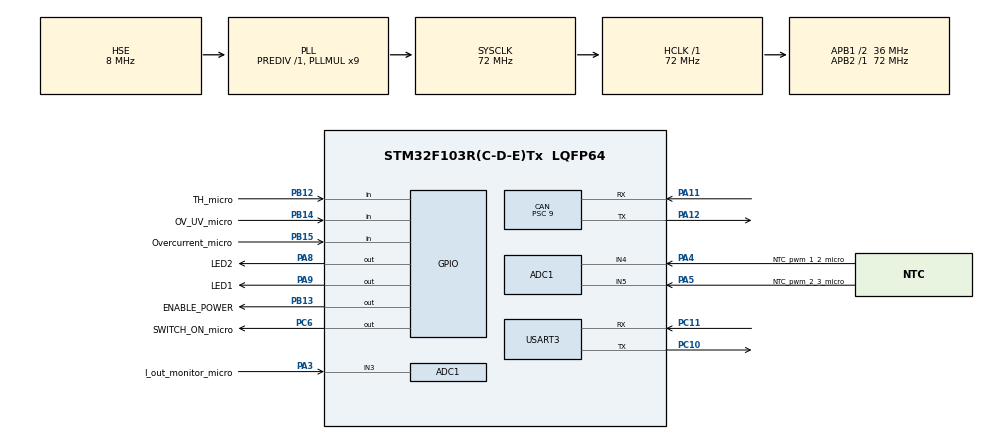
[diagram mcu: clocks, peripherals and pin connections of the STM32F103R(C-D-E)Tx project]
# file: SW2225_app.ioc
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ADC1.Channel-0\#ChannelRegularConversion=ADC_CHANNEL_3
ADC1.Channel-1\#ChannelRegularConversion=ADC_CHANNEL_4
ADC1.Channel-2\#ChannelRegularConversion=ADC_CHANNEL_5
ADC1.ContinuousConvMode=ENABLE
ADC1.NbrOfConversion=3
ADC1.NbrOfConversionFlag=1
ADC1.Rank-0\#ChannelRegularConversion=1
ADC1.Rank-1\#ChannelRegularConversion=2
ADC1.Rank-2\#ChannelRegularConversion=3
ADC1.SamplingTime-0\#ChannelRegularConversion=ADC_SAMPLETIME_28CYCLES_5
ADC1.SamplingTime-1\#ChannelRegularConversion=ADC_SAMPLETIME_28CYCLES_5
ADC1.SamplingTime-2\#ChannelRegularConversion=ADC_SAMPLETIME_28CYCLES_5
ADC1.master=1
CAN.BS1=CAN_BS1_13TQ
CAN.BS2=CAN_BS2_2TQ
CAN.CalculateBaudRate=250000
CAN.CalculateTimeBit=4000
CAN.CalculateTimeQuantum=250.0
CAN.NART=ENABLE
CAN.Prescaler=9
CAN.TXFP=ENABLE
Dma.ADC1.0.Direction=DMA_PERIPH_TO_MEMORY
Dma.ADC1.0.Instance=DMA1_Channel1
Dma.ADC1.0.MemDataAlignment=DMA_MDATAALIGN_HALFWORD
Dma.ADC1.0.MemInc=DMA_MINC_ENABLE
Dma.ADC1.0.Mode=DMA_NORMAL
Dma.ADC1.0.PeriphDataAlignment=DMA_PDATAALIGN_HALFWORD
Dma.ADC1.0.PeriphInc=DMA_PINC_DISABLE
Dma.ADC1.0.Priority=DMA_PRIORITY_LOW
Dma.Request0=ADC1
Mcu.Family=STM32F1
Mcu.Name=STM32F103R(C-D-E)Tx
Mcu.Package=LQFP64
NVIC.DMA1_Channel1_IRQn=true\:0\:0\:false\:false\:true\:false\:true\:true
NVIC.PriorityGroup=NVIC_PRIORITYGROUP_4
NVIC.USART3_IRQn=true\:0\:0\:false\:false\:true\:true\:true\:true
NVIC.USB_HP_CAN1_TX_IRQn=true\:0\:0\:false\:false\:true\:true\:true\:true
NVIC.USB_LP_CAN1_RX0_IRQn=true\:0\:0\:false\:false\:true\:true\:true\:true
PA11.GPIO_PuPd=GPIO_NOPULL
PA11.Mode=CAN_Activate
PA11.Signal=CAN_RX
PA12.GPIO_Mode=GPIO_MODE_AF_PP
PA12.GPIO_Speed=GPIO_SPEED_FREQ_MEDIUM
PA12.Mode=CAN_Activate
PA12.Signal=CAN_TX
PA13.GPIO_Label=SWDIO
PA13.Mode=Serial_Wire
PA13.Signal=SYS_JTMS-SWDIO
PA14.GPIO_Label=SWCLK
PA14.Mode=Serial_Wire
PA14.Signal=SYS_JTCK-SWCLK
PA3.GPIO_Label=I_out_monitor_micro
PA3.Signal=ADCx_IN3
PA4.GPIO_Label=NTC_pwm_1_2_micro
PA4.Signal=ADCx_IN4
PA5.GPIO_Label=NTC_pwm_2_3_micro
PA5.Signal=ADCx_IN5
PA8.GPIO_Label=LED2
PA8.Signal=GPIO_Output
PA9.GPIO_Label=LED1
PA9.Signal=GPIO_Output
PB12.GPIO_Label=TH_micro
PB12.Signal=GPIO_Input
PB13.GPIO_Label=ENABLE_POWER
PB13.Signal=GPIO_Output
PB14.GPIO_Label=OV_UV_micro
PB14.Signal=GPIO_Input
PB15.GPIO_Label=Overcurrent_micro
PB15.Signal=GPIO_Input
PC10.Mode=Asynchronous
PC10.Signal=USART3_TX
PC11.Mode=Asynchronous
PC11.Signal=USART3_RX
PC6.GPIO_Label=SWITCH_ON_micro
PC6.Signal=GPIO_Output
PD0-OSC_IN.Mode=HSE-External-Oscillator
PD0-OSC_IN.Signal=RCC_OSC_IN
PD1-OSC_OUT.Mode=HSE-External-Oscillator
PD1-OSC_OUT.Signal=RCC_OSC_OUT
ProjectManager.HeapSize=0x2000
ProjectManager.StackSize=0x4000
ProjectManager.TargetToolchain=STM32CubeIDE
RCC.ADCPresc=RCC_ADCPCLK2_DIV6
RCC.AHBFreq_Value=72000000
RCC.APB1CLKDivider=RCC_HCLK_DIV2
RCC.APB1Freq_Value=36000000
RCC.APB1TimFreq_Value=72000000
RCC.APB2Freq_Value=72000000
RCC.APB2TimFreq_Value=72000000
RCC.HCLKFreq_Value=72000000
RCC.PLLMUL=RCC_PLL_MUL9
RCC.PLLSourceVirtual=RCC_PLLSOURCE_HSE
RCC.SYSCLKFreq_VALUE=72000000
RCC.SYSCLKSource=RCC_SYSCLKSOURCE_PLLCLK
RCC.USBFreq_Value=72000000
SH.ADCx_IN3.0=ADC1_IN3,IN3
SH.ADCx_IN4.0=ADC1_IN4,IN4
SH.ADCx_IN5.0=ADC1_IN5,IN5
USART3.VirtualMode=VM_ASYNC
board=bootloader

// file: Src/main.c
/* USER CODE BEGIN Header */
/**
  ******************************************************************************
  * @file           : main.c
  * @brief          : Main program body
  ******************************************************************************
  * @attention
  *
  * Copyright (c) 2022 STMicroelectronics.
  * All rights reserved.
  *
  * This software is licensed under terms that can be found in the LICENSE file
  * in the root directory of this software component.
  * If no LICENSE file comes with this software, it is provided AS-IS.
  *
  ******************************************************************************
  */
/* USER CODE END Header */
#include "main.h"

/* USER CODE BEGIN Includes */
#include "machine.h"
#include "version.h"
#include "app_btl.h"

/* USER CODE END Includes */

ADC_HandleTypeDef hadc1;
DMA_HandleTypeDef hdma_adc1;

CAN_HandleTypeDef hcan;

UART_HandleTypeDef huart3;

/* USER CODE BEGIN PV */
extern unsigned int g_pfnVectors;

/* USER CODE END PV */

void SystemClock_Config(void);
static void MX_GPIO_Init(void);
static void MX_DMA_Init(void);
static void MX_CAN_Init(void);
static void MX_USART3_UART_Init(void);
static void MX_ADC1_Init(void);

/* USER CODE BEGIN 0 */
/* vector table */
static void VetcorTblRemap(void)
{
  /* rimappatura vector table */
  SCB->VTOR = (uint32_t)&g_pfnVectors;
  __enable_irq();
}

/* Debug cfg */
static void DbgEnable(void)
{
	uint32_t mapr;

	/* per evitare un bug presente nella macro di gestione della configurazione di debug */
	mapr = AFIO->MAPR;
	mapr &= ~(AFIO_MAPR_SWJ_CFG);
	AFIO->MAPR = mapr;
	mapr |= (AFIO_MAPR_SWJ_CFG_JTAGDISABLE);
	AFIO->MAPR = mapr;
}

/* USER CODE END 0 */

int main(void)
{
  /* USER CODE BEGIN 1 */
#if BOOTLOADER_EN
  volatile app_btl *share_app = (app_btl *)APP_BTL_SHARE_ADDR;
#endif

  VetcorTblRemap();

  /* USER CODE END 1 */

  /* MCU Configuration--------------------------------------------------------*/

  /* Reset of all peripherals, Initializes the Flash interface and the Systick. */
  HAL_Init();

  /* Configure the system clock */
  SystemClock_Config();

  /* Initialize all configured peripherals */
  MX_GPIO_Init();
  MX_DMA_Init();
  MX_CAN_Init();
  MX_USART3_UART_Init();
  MX_ADC1_Init();
  /* USER CODE BEGIN 2 */
  /* per evitare un bug presente nella macro di gestione della configurazione di debug */
  DbgEnable();

#if BOOTLOADER_EN
  if (share_app->head_code == APP_BTL_HEAD_CODE && *(&(share_app->head_code)+share_app->offset) == APP_BTL_TAIL_CODE) {
	  if (share_app->code_app != APP_BTL_APP_KEY){
		  HAL_Delay(100);
		  /* avviso al bootloader dell'aggiornamento e salto */
		  share_app->upgrade = 1;

		  HAL_NVIC_SystemReset();
		  while (1) {
		  }
	  }
  }
#endif

  /* calibrazione ADC */
  while (HAL_ADCEx_Calibration_Start(&hadc1) != HAL_OK)
	  ;

  /* USER CODE END 2 */

  /* Infinite loop */
  /* USER CODE BEGIN WHILE */
  while (1)
  {
	MachineLogic();
    /* USER CODE END WHILE */

  }
}

void SystemClock_Config(void)
{
  RCC_OscInitTypeDef RCC_OscInitStruct = {0};
  RCC_ClkInitTypeDef RCC_ClkInitStruct = {0};
  RCC_PeriphCLKInitTypeDef PeriphClkInit = {0};

  /** Initializes the RCC Oscillators according to the specified parameters
  * in the RCC_OscInitTypeDef structure.
  */
  RCC_OscInitStruct.OscillatorType = RCC_OSCILLATORTYPE_HSE;
  RCC_OscInitStruct.HSEState = RCC_HSE_ON;
  RCC_OscInitStruct.HSEPredivValue = RCC_HSE_PREDIV_DIV1;
  RCC_OscInitStruct.HSIState = RCC_HSI_ON;
  RCC_OscInitStruct.PLL.PLLState = RCC_PLL_ON;
  RCC_OscInitStruct.PLL.PLLSource = RCC_PLLSOURCE_HSE;
  RCC_OscInitStruct.PLL.PLLMUL = RCC_PLL_MUL9;
  if (HAL_RCC_OscConfig(&RCC_OscInitStruct) != HAL_OK)
  {
    Error_Handler();
  }

  /** Initializes the CPU, AHB and APB buses clocks
  */
  RCC_ClkInitStruct.ClockType = RCC_CLOCKTYPE_HCLK|RCC_CLOCKTYPE_SYSCLK
                              |RCC_CLOCKTYPE_PCLK1|RCC_CLOCKTYPE_PCLK2;
  RCC_ClkInitStruct.SYSCLKSource = RCC_SYSCLKSOURCE_PLLCLK;
  RCC_ClkInitStruct.AHBCLKDivider = RCC_SYSCLK_DIV1;
  RCC_ClkInitStruct.APB1CLKDivider = RCC_HCLK_DIV2;
  RCC_ClkInitStruct.APB2CLKDivider = RCC_HCLK_DIV1;

  if (HAL_RCC_ClockConfig(&RCC_ClkInitStruct, FLASH_LATENCY_2) != HAL_OK)
  {
    Error_Handler();
  }
  PeriphClkInit.PeriphClockSelection = RCC_PERIPHCLK_ADC;
  PeriphClkInit.AdcClockSelection = RCC_ADCPCLK2_DIV6;
  if (HAL_RCCEx_PeriphCLKConfig(&PeriphClkInit) != HAL_OK)
  {
    Error_Handler();
  }
}

static void MX_ADC1_Init(void)
{

  ADC_ChannelConfTypeDef sConfig = {0};

  /** Common config
  */
  hadc1.Instance = ADC1;
  hadc1.Init.ScanConvMode = ADC_SCAN_ENABLE;
  hadc1.Init.ContinuousConvMode = ENABLE;
  hadc1.Init.DiscontinuousConvMode = DISABLE;
  hadc1.Init.ExternalTrigConv = ADC_SOFTWARE_START;
  hadc1.Init.DataAlign = ADC_DATAALIGN_RIGHT;
  hadc1.Init.NbrOfConversion = 3;
  if (HAL_ADC_Init(&hadc1) != HAL_OK)
  {
    Error_Handler();
  }

  /** Configure Regular Channel
  */
  sConfig.Channel = ADC_CHANNEL_3;
  sConfig.Rank = ADC_REGULAR_RANK_1;
  sConfig.SamplingTime = ADC_SAMPLETIME_28CYCLES_5;
  if (HAL_ADC_ConfigChannel(&hadc1, &sConfig) != HAL_OK)
  {
    Error_Handler();
  }

  /** Configure Regular Channel
  */
  sConfig.Channel = ADC_CHANNEL_4;
  sConfig.Rank = ADC_REGULAR_RANK_2;
  if (HAL_ADC_ConfigChannel(&hadc1, &sConfig) != HAL_OK)
  {
    Error_Handler();
  }

  /** Configure Regular Channel
  */
  sConfig.Channel = ADC_CHANNEL_5;
  sConfig.Rank = ADC_REGULAR_RANK_3;
  if (HAL_ADC_ConfigChannel(&hadc1, &sConfig) != HAL_OK)
  {
    Error_Handler();
  }

}

static void MX_CAN_Init(void)
{

  hcan.Instance = CAN1;
  hcan.Init.Prescaler = 9;
  hcan.Init.Mode = CAN_MODE_NORMAL;
  hcan.Init.SyncJumpWidth = CAN_SJW_1TQ;
  hcan.Init.TimeSeg1 = CAN_BS1_13TQ;
  hcan.Init.TimeSeg2 = CAN_BS2_2TQ;
  hcan.Init.TimeTriggeredMode = DISABLE;
  hcan.Init.AutoBusOff = DISABLE;
  hcan.Init.AutoWakeUp = DISABLE;
  hcan.Init.AutoRetransmission = ENABLE;
  hcan.Init.ReceiveFifoLocked = DISABLE;
  hcan.Init.TransmitFifoPriority = ENABLE;
  if (HAL_CAN_Init(&hcan) != HAL_OK)
  {
    Error_Handler();
  }

}

static void MX_USART3_UART_Init(void)
{

  huart3.Instance = USART3;
  huart3.Init.BaudRate = 115200;
  huart3.Init.WordLength = UART_WORDLENGTH_8B;
  huart3.Init.StopBits = UART_STOPBITS_1;
  huart3.Init.Parity = UART_PARITY_NONE;
  huart3.Init.Mode = UART_MODE_TX_RX;
  huart3.Init.HwFlowCtl = UART_HWCONTROL_NONE;
  huart3.Init.OverSampling = UART_OVERSAMPLING_16;
  if (HAL_UART_Init(&huart3) != HAL_OK)
  {
    Error_Handler();
  }

}

static void MX_DMA_Init(void)
{

  /* DMA controller clock enable */
  __HAL_RCC_DMA1_CLK_ENABLE();

  /* DMA interrupt init */
  /* DMA1_Channel1_IRQn interrupt configuration */
  HAL_NVIC_SetPriority(DMA1_Channel1_IRQn, 0, 0);
  HAL_NVIC_EnableIRQ(DMA1_Channel1_IRQn);

}

static void MX_GPIO_Init(void)
{
  GPIO_InitTypeDef GPIO_InitStruct = {0};

  /* GPIO Ports Clock Enable */
  __HAL_RCC_GPIOD_CLK_ENABLE();
  __HAL_RCC_GPIOA_CLK_ENABLE();
  __HAL_RCC_GPIOB_CLK_ENABLE();
  __HAL_RCC_GPIOC_CLK_ENABLE();

  /*Configure GPIO pin Output Level */
  HAL_GPIO_WritePin(ENABLE_POWER_GPIO_Port, ENABLE_POWER_Pin, GPIO_PIN_RESET);

  /*Configure GPIO pin Output Level */
  HAL_GPIO_WritePin(SWITCH_ON_micro_GPIO_Port, SWITCH_ON_micro_Pin, GPIO_PIN_RESET);

  /*Configure GPIO pin Output Level */
  HAL_GPIO_WritePin(GPIOA, LED2_Pin|LED1_Pin, GPIO_PIN_RESET);

  /*Configure GPIO pins : TH_micro_Pin OV_UV_micro_Pin Overcurrent_micro_Pin */
  GPIO_InitStruct.Pin = TH_micro_Pin|OV_UV_micro_Pin|Overcurrent_micro_Pin;
  GPIO_InitStruct.Mode = GPIO_MODE_INPUT;
  GPIO_InitStruct.Pull = GPIO_NOPULL;
  HAL_GPIO_Init(GPIOB, &GPIO_InitStruct);

  /*Configure GPIO pin : ENABLE_POWER_Pin */
  GPIO_InitStruct.Pin = ENABLE_POWER_Pin;
  GPIO_InitStruct.Mode = GPIO_MODE_OUTPUT_PP;
  GPIO_InitStruct.Pull = GPIO_NOPULL;
  GPIO_InitStruct.Speed = GPIO_SPEED_FREQ_LOW;
  HAL_GPIO_Init(ENABLE_POWER_GPIO_Port, &GPIO_InitStruct);

  /*Configure GPIO pin : SWITCH_ON_micro_Pin */
  GPIO_InitStruct.Pin = SWITCH_ON_micro_Pin;
  GPIO_InitStruct.Mode = GPIO_MODE_OUTPUT_PP;
  GPIO_InitStruct.Pull = GPIO_NOPULL;
  GPIO_InitStruct.Speed = GPIO_SPEED_FREQ_LOW;
  HAL_GPIO_Init(SWITCH_ON_micro_GPIO_Port, &GPIO_InitStruct);

  /*Configure GPIO pins : LED2_Pin LED1_Pin */
  GPIO_InitStruct.Pin = LED2_Pin|LED1_Pin;
  GPIO_InitStruct.Mode = GPIO_MODE_OUTPUT_PP;
  GPIO_InitStruct.Pull = GPIO_NOPULL;
  GPIO_InitStruct.Speed = GPIO_SPEED_FREQ_LOW;
  HAL_GPIO_Init(GPIOA, &GPIO_InitStruct);

}

void Error_Handler(void)
{
  __disable_irq();
  while (1)
  {
  }
}
